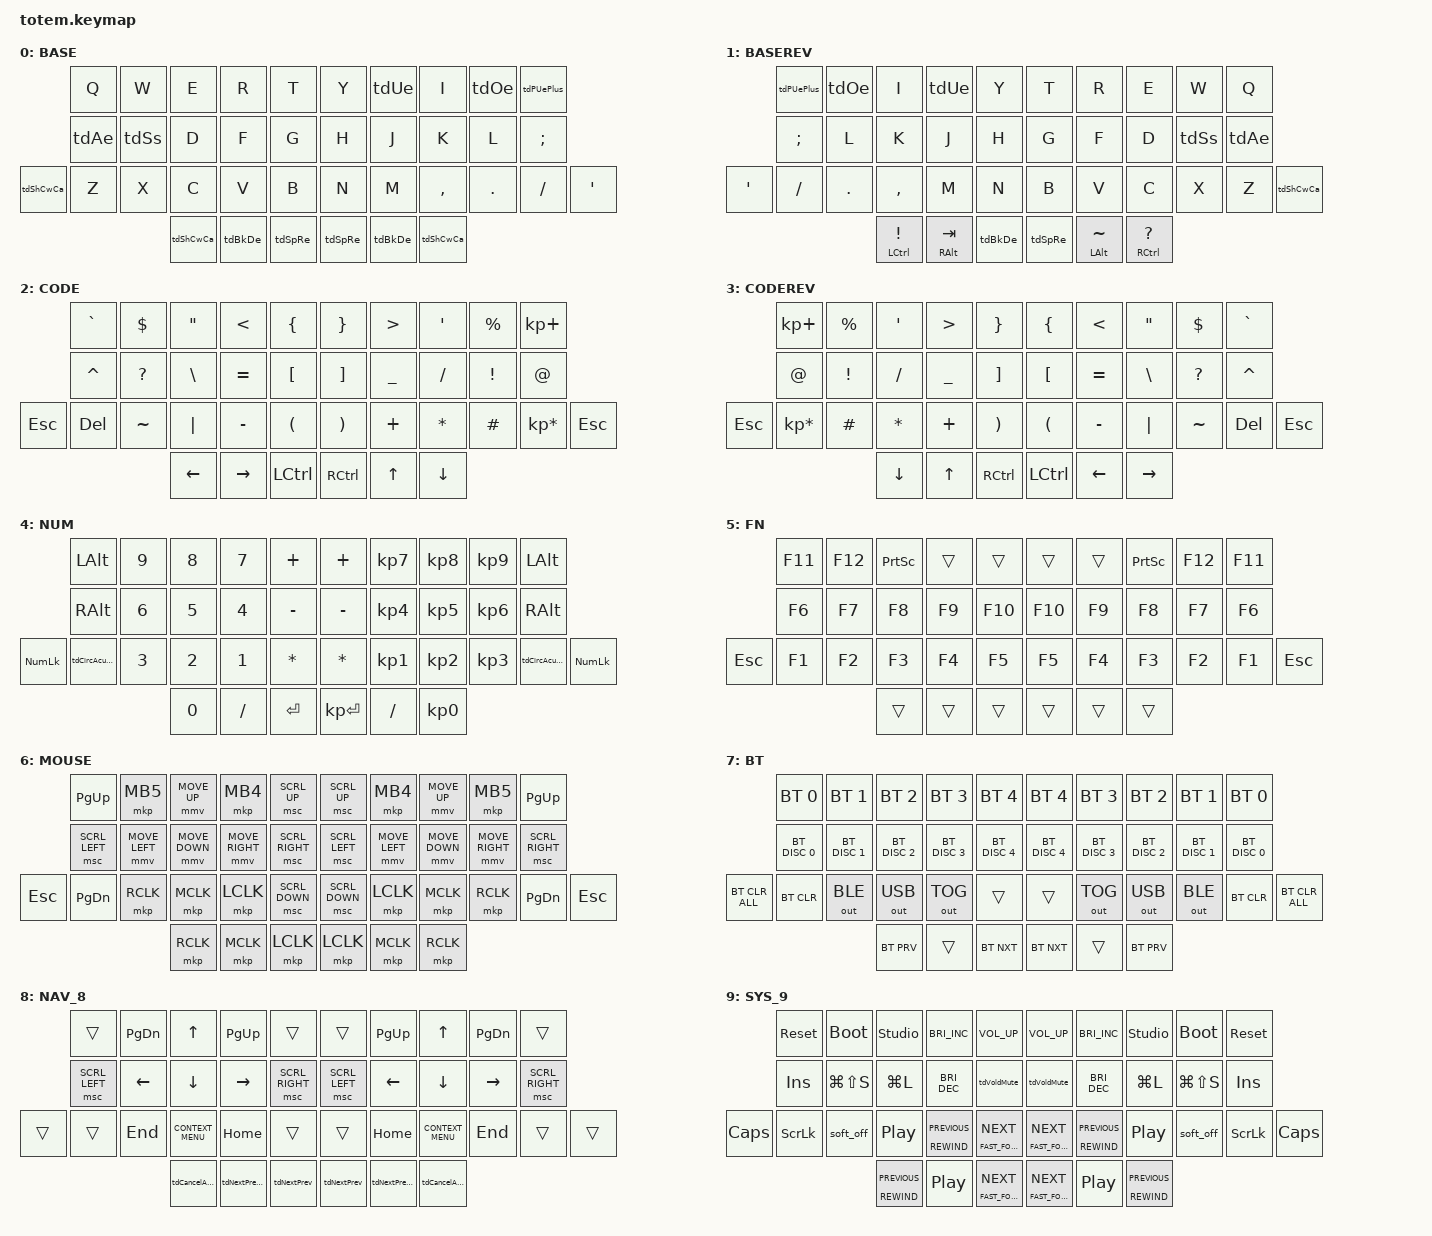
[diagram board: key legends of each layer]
//
//                                                        ▀▀▀▀▀     ▀▀▀▀▀          ▀▀█▀▀
//                                                        ▄▀▀▀▄  ▄  ▄▀▀▀▄  ▄  ▄▀▀▀▄  █  ▄▀▀▀▄
//                                                        █   █  █  █   █  █  █   █  █  █   █
//                                                         ▀▀▀   █   ▀▀▀   █   ▀▀▀   ▀   ▀▀▀
//                                                               █      ▄▄▄█▄▄▄    █   █  
//                                                               ▀      █  █  █     █▄█
//                                                             ▀▀▀▀▀    █  █  █      ▀
//                                                                      ▀  ▀  ▀
//
// ▄▄▄▄▄▄▄▄▄▄▄▄▄▄▄▄▄▄▄▄▄▄▄▄▄▄▄▄▄▄▄▄▄▄▄▄▄▄▄▄▄▄▄▄▄▄▄▄▄▄▄▄▄▄▄▄▄▄▄▄▄▄▄▄▄▄▄▄▄▄▄▄▄▄▄▄▄▄▄▄▄▄▄▄▄▄▄▄▄▄▄▄▄▄▄▄▄▄▄▄▄▄▄▄▄▄▄▄▄▄▄▄▄▄▄▄▄▄▄▄▄▄▄▄▄▄▄▄▄▄▄▄▄▄▄▄▄▄▄▄▄▄▄▄▄▄▄▄▄

#define ZMK_POINTING_DEFAULT_MOVE_VAL 700// default: 600
#define ZMK_POINTING_DEFAULT_SCRL_VAL 10// default: 10

#include <behaviors.dtsi>
#include <dt-bindings/zmk/bt.h>
#include <dt-bindings/zmk/keys.h>
#include <dt-bindings/zmk/outputs.h>
#include <dt-bindings/zmk/pointing.h>
#include "keys_de.h"

/ {
    combos {
        compatible = "zmk,combos";

        to0l {
            bindings = <&to 0>;
            key-positions = <22 23>;
        };

        to0r {
            bindings = <&to 0>;
            key-positions = <29 28>;
        };

        to1l {
            bindings = <&to 1>;
            key-positions = <11 12>;
        };

        to1r {
            bindings = <&to 1>;
            key-positions = <18 17>;
        };

        to2l {
            bindings = <&to 2>;
            key-positions = <1 2>;
        };

        to2r {
            bindings = <&to 2>;
            key-positions = <7 8>;
        };

        to3l {
            bindings = <&to 3>;
            key-positions = <23 24>;
        };

        to3r {
            bindings = <&to 3>;
            key-positions = <28 27>;
        };

        to4l {
            bindings = <&to 4>;
            key-positions = <12 13>;
        };

        to4r {
            bindings = <&to 4>;
            key-positions = <17 16>;
        };

        to5l {
            bindings = <&to 5>;
            key-positions = <2 3>;
        };

        to5r {
            bindings = <&to 5>;
            key-positions = <7 6>;
        };

        to6l {
            bindings = <&to 6>;
            key-positions = <25 24>;
        };

        to6r {
            bindings = <&to 6>;
            key-positions = <26 27>;
        };

        to7l {
            bindings = <&to 7>;
            key-positions = <13 14>;
        };

        to7r {
            bindings = <&to 7>;
            key-positions = <15 16>;
        };

        to8l {
            bindings = <&to 8>;
            key-positions = <3 4>;
        };

        to8r {
            bindings = <&to 8>;
            key-positions = <5 6>;
        };

        to9l {
            bindings = <&to 9>;
            key-positions = <22 24>;
        };

        to9r {
            bindings = <&to 9>;
            key-positions = <27 29>;
        };

        winSpR {
            bindings = <&kp LG(SPACE)>;
            key-positions = <37 29>;
        };

        winSpL {
            bindings = <&kp LG(SPACE)>;
            key-positions = <32 22>;
        };

        winL {
            bindings = <&kp LEFT_WIN>;
            key-positions = <21 32>;
        };

        winR {
            bindings = <&kp RIGHT_GUI>;
            key-positions = <37 30>;
        };

        escL {
            bindings = <&kp ESCAPE>;
            key-positions = <20 21>;
        };

        escR {
            bindings = <&kp ESCAPE>;
            key-positions = <31 30>;
        };

        ctrL {
            bindings = <&kp LCTRL>;
            key-positions = <32 33>;
        };

        ctrR {
            bindings = <&kp RCTRL>;
            key-positions = <36 37>;
        };

        altL {
            bindings = <&kp LEFT_ALT>;
            key-positions = <32 34>;
        };

        altR {
            bindings = <&kp RIGHT_ALT>;
            key-positions = <35 37>;
        };

        shiftL {
            bindings = <&kp LEFT_SHIFT>;
            key-positions = <33 34>;
        };

        shiftR {
            bindings = <&kp RIGHT_SHIFT>;
            key-positions = <36 35>;
        };
    };

    macros {
        a_umlaut_small: a_umlaut_small {
            compatible = "zmk,behavior-macro";
            #binding-cells = <0>;
            wait-ms = <40>;
            tap-ms = <40>;
            bindings =
                <&macro_press>,
                <&kp LALT>,
                <&macro_tap>,
                <&kp KP_N1 &kp KP_N3 &kp KP_N2>,
                <&macro_release>,
                <&kp LALT>;
        };

        a_umlaut_capital: a_umlaut_capital {
            compatible = "zmk,behavior-macro";
            #binding-cells = <0>;
            wait-ms = <40>;
            tap-ms = <40>;
            bindings =
                <&macro_press>,
                <&kp LALT>,
                <&macro_tap>,
                <&kp KP_N1 &kp KP_N4 &kp KP_N2>,
                <&macro_release>,
                <&kp LALT>;
        };

        o_umlaut_small: o_umlaut_small {
            compatible = "zmk,behavior-macro";
            #binding-cells = <0>;
            wait-ms = <40>;
            tap-ms = <40>;
            bindings =
                <&macro_press>,
                <&kp LALT>,
                <&macro_tap>,
                <&kp KP_N1 &kp KP_N4 &kp KP_N8>,
                <&macro_release>,
                <&kp LALT>;
        };

        o_umlaut_capital: o_umlaut_capital {
            compatible = "zmk,behavior-macro";
            #binding-cells = <0>;
            wait-ms = <40>;
            tap-ms = <40>;
            bindings =
                <&macro_press>,
                <&kp LALT>,
                <&macro_tap>,
                <&kp KP_N1 &kp KP_N5 &kp KP_N3>,
                <&macro_release>,
                <&kp LALT>;
        };

        u_umlaut_small: u_umlaut_small {
            compatible = "zmk,behavior-macro";
            #binding-cells = <0>;
            wait-ms = <40>;
            tap-ms = <40>;
            bindings =
                <&macro_press>,
                <&kp LALT>,
                <&macro_tap>,
                <&kp KP_N1 &kp KP_N2 &kp KP_N9>,
                <&macro_release>,
                <&kp LALT>;
        };

        u_umlaut_capital: u_umlaut_capital {
            compatible = "zmk,behavior-macro";
            #binding-cells = <0>;
            wait-ms = <40>;
            tap-ms = <40>;
            bindings =
                <&macro_press>,
                <&kp LALT>,
                <&macro_tap>,
                <&kp KP_N1 &kp KP_N5 &kp KP_N4>,
                <&macro_release>,
                <&kp LALT>;
        };

        sz_small: sz_small {
            compatible = "zmk,behavior-macro";
            #binding-cells = <0>;
            wait-ms = <40>;
            tap-ms = <40>;
            bindings =
                <&macro_press>,
                <&kp LALT>,
                <&macro_tap>,
                <&kp KP_N2 &kp KP_N2 &kp KP_N5>,
                <&macro_release>,
                <&kp LALT>;
        };
    };

    behaviors {
        tap_dance { tap-term-ms = <300>; };

        tap_hold { tap-term-ms = <300>; };

        tdSpRe: tdSpRe {
            compatible = "zmk,behavior-tap-dance";
            label = "TDSPRE";
            #binding-cells = <0>;
            bindings = <&kp SPACE>, <&kp ENTER>;

            tapping-term-ms = <275>;
        };

        tdBkDe: tdBkDe {
            compatible = "zmk,behavior-tap-dance";
            label = "TDBKDE";
            #binding-cells = <0>;
            bindings = <&kp BACKSPACE>, <&kp DEL>;

            tapping-term-ms = <300>;
        };

        tdShCwCa: tdShCwCa {
            compatible = "zmk,behavior-tap-dance";
            label = "TDSHCWCA";
            #binding-cells = <0>;
            bindings = <&sk LEFT_SHIFT>, <&caps_word>, <&kt LEFT_SHIFT>;

            tapping-term-ms = <300>;
        };

        tdAe: tdAe {
            compatible = "zmk,behavior-tap-dance";
            label = "TDAE";
            #binding-cells = <0>;
            bindings = <&kp A>, <&a_umlaut_small>, <&a_umlaut_capital>;

            tapping-term-ms = <300>;
        };

        tdOe: tdOe {
            compatible = "zmk,behavior-tap-dance";
            label = "TDOE";
            #binding-cells = <0>;
            bindings = <&kp O>, <&o_umlaut_small>, <&o_umlaut_capital>;

            tapping-term-ms = <300>;
        };

        tdUe: tdUe {
            compatible = "zmk,behavior-tap-dance";
            label = "TDUE";
            #binding-cells = <0>;
            bindings = <&kp U>, <&u_umlaut_small>, <&u_umlaut_capital>;

            tapping-term-ms = <300>;
        };

        tdSs: tdSs {
            compatible = "zmk,behavior-tap-dance";
            label = "TDSS";
            #binding-cells = <0>;
            bindings = <&kp S>, <&sz_small>;

            tapping-term-ms = <300>;
        };

        tdCircAcuteGrave: tdCircAcuteGrave {
            compatible = "zmk,behavior-tap-dance";
            label = "TDCIRCACUTEGRAVE";
            #binding-cells = <0>;
            bindings = <&kp GRAVE>, <&kp EQUAL>, <&kp PLUS>;

            tapping-term-ms = <300>;
        };

        tdPUePlus: tdPUePlus {
            compatible = "zmk,behavior-tap-dance";
            label = "TDPUEPLUS";
            #binding-cells = <0>;
            bindings = <&kp P>, <&kp LEFT_BRACKET>, <&kp PLUS>;

            tapping-term-ms = <300>;
        };

        tdVoldMute: tdVoldMute {
            compatible = "zmk,behavior-tap-dance";
            label = "TDVOLDMUTE";
            #binding-cells = <0>;
            bindings = <&kp C_VOL_DN>, <&kp C_MUTE>;

            tapping-term-ms = <300>;
        };

        tdNextPrevGrp: tdNextPrevGrp {
            compatible = "zmk,behavior-tap-dance";
            label = "TDNEXTPREVGRP";
            #binding-cells = <0>;
            tapping-term-ms = <300>;
            bindings =
                <&kp C_KEYBOARD_INPUT_ASSIST_NEXT_GROUP>,
                <&kp C_KEYBOARD_INPUT_ASSIST_PREVIOUS_GROUP>;
        };

        tdNextPrev: tdNextPrev {
            compatible = "zmk,behavior-tap-dance";
            label = "TDNEXTPREV";
            #binding-cells = <0>;
            tapping-term-ms = <300>;
            bindings =
                <&kp C_KEYBOARD_INPUT_ASSIST_NEXT>,
                <&kp C_KEYBOARD_INPUT_ASSIST_PREVIOUS>;
        };

        tdCancelAccept: tdCancelAccept {
            compatible = "zmk,behavior-tap-dance";
            label = "TDCANCELACCEPT";
            #binding-cells = <0>;
            tapping-term-ms = <300>;
            bindings =
                <&kp C_KEYBOARD_INPUT_ASSIST_CANCEL>,
                <&kp C_KEYBOARD_INPUT_ASSIST_ACCEPT>;
        };
    };

    keymap {
        compatible = "zmk,keymap";

        base_0 {
            label = "BASE";
            bindings = <
           &kp Q  &kp W  &kp E      &kp R    &kp T      &kp Y    &tdUe    &kp I      &tdOe       &tdPUePlus
           &tdAe  &tdSs  &kp D      &kp F    &kp G      &kp H    &kp J    &kp K      &kp L       &kp SEMICOLON
&tdShCwCa  &kp Z  &kp X  &kp C      &kp V    &kp B      &kp N    &kp M    &kp COMMA  &kp PERIOD  &kp SLASH      &kp SQT
                         &tdShCwCa  &tdBkDe  &tdSpRe    &tdSpRe  &tdBkDe  &tdShCwCa
            >;
        };

        base_rev_1 {
            label = "BASEREV";
            bindings = <
         &tdPUePlus     &tdOe    &kp I                         &tdUe         &kp Y      &kp T    &kp R               &kp E               &kp W  &kp Q
         &kp SEMICOLON  &kp L    &kp K                         &kp J         &kp H      &kp G    &kp F               &kp D               &tdSs  &tdAe
&kp SQT  &kp FSLH       &kp DOT  &kp COMMA                     &kp M         &kp N      &kp B    &kp V               &kp C               &kp X  &kp Z  &tdShCwCa
                                 &mt LEFT_CONTROL EXCLAMATION  &mt RALT TAB  &tdBkDe    &tdSpRe  &mt LEFT_ALT TILDE  &mt RCTRL QUESTION
            >;
        };

        coding_layer_2 {
            label = "CODE";
            bindings = <
            &kp GRAVE  &kp DOLLAR    &kp DOUBLE_QUOTES  &kp LESS_THAN    &kp LBRC            &kp RBRC           &kp GREATER_THAN  &kp SINGLE_QUOTE  &kp PERCENT      &kp KP_PLUS
            &kp CARET  &kp QUESTION  &kp BSLH           &kp EQUAL        &kp LBKT            &kp RBKT           &kp UNDERSCORE    &kp FSLH          &kp EXCLAMATION  &kp AT_SIGN
&kp ESCAPE  &kp DEL    &kp TILDE     &kp PIPE           &kp MINUS        &kp LPAR            &kp RPAR           &kp PLUS          &kp ASTERISK      &kp HASH         &kp KP_MULTIPLY  &kp ESCAPE
                                     &kp LEFT_ARROW     &kp RIGHT_ARROW  &kp LEFT_CONTROL    &kp RIGHT_CONTROL  &kp UP_ARROW      &kp DOWN_ARROW
            >;
        };

        coding_layer_rev_3 {
            label = "CODEREV";
            bindings = <
            &kp KP_PLUS      &kp PERCENT      &kp SINGLE_QUOTE  &kp GREATER_THAN  &kp RBRC             &kp LBRC          &kp LESS_THAN   &kp DOUBLE_QUOTES  &kp DOLLAR    &kp GRAVE
            &kp AT_SIGN      &kp EXCLAMATION  &kp FSLH          &kp UNDERSCORE    &kp RBKT             &kp LBKT          &kp EQUAL       &kp BSLH           &kp QUESTION  &kp CARET
&kp ESCAPE  &kp KP_MULTIPLY  &kp HASH         &kp ASTERISK      &kp PLUS          &kp RPAR             &kp LPAR          &kp MINUS       &kp PIPE           &kp TILDE     &kp DEL    &kp ESCAPE
                                              &kp DOWN_ARROW    &kp UP_ARROW      &kp RIGHT_CONTROL    &kp LEFT_CONTROL  &kp LEFT_ARROW  &kp RIGHT_ARROW
            >;
        };

        num_layer_4 {
            label = "NUM";
            bindings = <
                &kp LEFT_ALT       &kp N9  &kp N8  &kp N7    &kp PLUS        &kp PLUS      &kp KP_NUMBER_7  &kp KP_NUMBER_8  &kp KP_NUMBER_9  &kp LEFT_ALT
                &kp RIGHT_ALT      &kp N6  &kp N5  &kp N4    &kp MINUS       &kp MINUS     &kp KP_NUMBER_4  &kp KP_NUMBER_5  &kp KP_NUMBER_6  &kp RIGHT_ALT
&kp KP_NUMLOCK  &tdCircAcuteGrave  &kp N3  &kp N2  &kp N1    &kp ASTERISK    &kp ASTERISK  &kp KP_NUMBER_1  &kp KP_NUMBER_2  &kp KP_NUMBER_3  &tdCircAcuteGrave  &kp KP_NUMLOCK
                                           &kp N0  &kp FSLH  &kp ENTER       &kp KP_ENTER  &kp FSLH         &kp KP_NUMBER_0
            >;
        };

        fn_layer_5 {
            label = "FN";
            bindings = <
         &kp F11  &kp F12  &kp PRINTSCREEN  &trans  &trans     &trans   &trans  &kp PRINTSCREEN  &kp F12  &kp F11
         &kp F6   &kp F7   &kp F8           &kp F9  &kp F10    &kp F10  &kp F9  &kp F8           &kp F7   &kp F6
&kp ESC  &kp F1   &kp F2   &kp F3           &kp F4  &kp F5     &kp F5   &kp F4  &kp F3           &kp F2   &kp F1   &kp ESC
                           &trans           &trans  &trans     &trans   &trans  &trans
            >;
        };

        mouse_layer_6 {
            label = "MOUSE";
            bindings = <
            &kp PAGE_UP     &mkp MB5        &mmv MOVE_UP    &mkp MB4         &msc SCRL_UP       &msc SCRL_UP    &mkp MB4        &mmv MOVE_UP    &mkp MB5         &kp PAGE_UP
            &msc SCRL_LEFT  &mmv MOVE_LEFT  &mmv MOVE_DOWN  &mmv MOVE_RIGHT  &msc SCRL_RIGHT    &msc SCRL_LEFT  &mmv MOVE_LEFT  &mmv MOVE_DOWN  &mmv MOVE_RIGHT  &msc SCRL_RIGHT
&kp ESCAPE  &kp PAGE_DOWN   &mkp RCLK       &mkp MCLK       &mkp LCLK        &msc SCRL_DOWN     &msc SCRL_DOWN  &mkp LCLK       &mkp MCLK       &mkp RCLK        &kp PAGE_DOWN    &kp ESCAPE
                                            &mkp RCLK       &mkp MCLK        &mkp LCLK          &mkp LCLK       &mkp MCLK       &mkp RCLK
            >;
        };

        bt_layer_7 {
            label = "BT";
            bindings = <
                &bt BT_SEL 0   &bt BT_SEL 1   &bt BT_SEL 2   &bt BT_SEL 3   &bt BT_SEL 4     &bt BT_SEL 4   &bt BT_SEL 3   &bt BT_SEL 2   &bt BT_SEL 1   &bt BT_SEL 0
                &bt BT_DISC 0  &bt BT_DISC 1  &bt BT_DISC 2  &bt BT_DISC 3  &bt BT_DISC 4    &bt BT_DISC 4  &bt BT_DISC 3  &bt BT_DISC 2  &bt BT_DISC 1  &bt BT_DISC 0
&bt BT_CLR_ALL  &bt BT_CLR     &out OUT_BLE   &out OUT_USB   &out OUT_TOG   &trans           &trans         &out OUT_TOG   &out OUT_USB   &out OUT_BLE   &bt BT_CLR     &bt BT_CLR_ALL
                                              &bt BT_PRV     &trans         &bt BT_NXT       &bt BT_NXT     &trans         &bt BT_PRV
            >;
        };

        nav_layer_8 {
            label = "NAV_8";
            bindings = <
        &trans          &kp PAGE_DOWN   &kp UP_ARROW        &kp PAGE_UP     &trans             &trans          &kp PAGE_UP     &kp UP_ARROW        &kp PAGE_DOWN  &trans
        &msc SCRL_LEFT  &kp LEFT_ARROW  &kp DOWN_ARROW      &kp RIGHT       &msc SCRL_RIGHT    &msc SCRL_LEFT  &kp LEFT        &kp DOWN_ARROW      &kp RIGHT      &msc SCRL_RIGHT
&trans  &trans          &kp END         &kp K_CONTEXT_MENU  &kp HOME        &trans             &trans          &kp HOME        &kp K_CONTEXT_MENU  &kp END        &trans           &trans
                                        &tdCancelAccept     &tdNextPrevGrp  &tdNextPrev        &tdNextPrev     &tdNextPrevGrp  &tdCancelAccept
            >;
        };

        sys_layer_9 {
            label = "SYS_9";
            bindings = <
          &sys_reset      &bootloader    &studio_unlock           &kp C_BRIGHTNESS_INC     &kp C_VOLUME_UP              &kp C_VOLUME_UP            &kp C_BRIGHTNESS_INC     &studio_unlock           &bootloader    &sys_reset
          &kp INSERT      &kp LG(LS(S))  &kp LG(L)                &kp C_BRIGHTNESS_DEC     &tdVoldMute                  &tdVoldMute                &kp C_BRIGHTNESS_DEC     &kp LG(L)                &kp LG(LS(S))  &kp INSERT
&kp CLCK  &kp SCROLLLOCK  &soft_off      &kp C_PLAY_PAUSE         &mt C_REWIND C_PREVIOUS  &mt C_FAST_FORWARD C_NEXT    &mt C_FAST_FORWARD C_NEXT  &mt C_REWIND C_PREVIOUS  &kp C_PLAY_PAUSE         &soft_off      &kp SCROLLLOCK  &kp CAPSLOCK
                                         &mt C_REWIND C_PREVIOUS  &kp C_PLAY_PAUSE         &mt C_FAST_FORWARD C_NEXT    &mt C_FAST_FORWARD C_NEXT  &kp C_PLAY_PAUSE         &mt C_REWIND C_PREVIOUS
            >;
        };
    };
};
